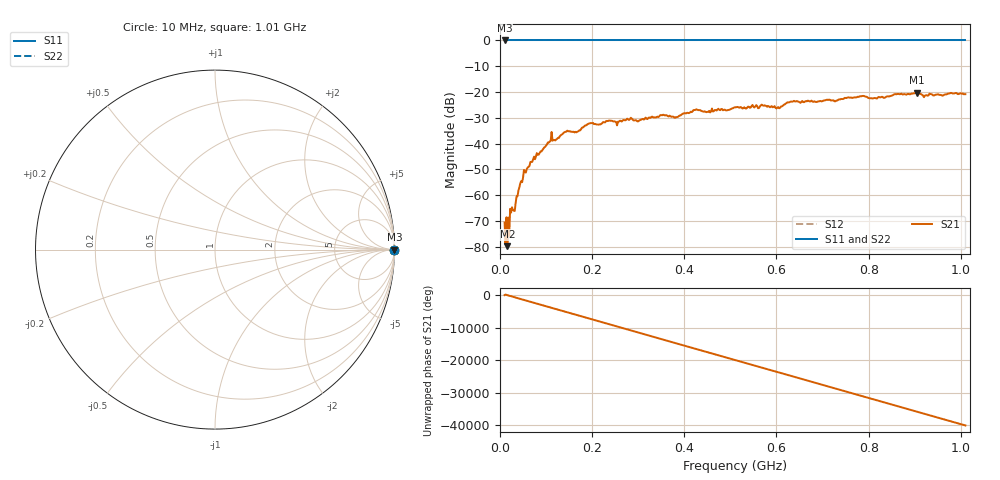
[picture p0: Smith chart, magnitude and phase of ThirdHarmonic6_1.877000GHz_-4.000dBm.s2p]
! 8/16/2025 10:40:41 PM
! C:\ANRITSUVNA\TEMP\TEMP.S2P
! CHANNEL.1
! TR.MEASUREMENT
! RAW.DATA
! RF.CORRECTION.OFF
! AVERAGING.OFF
! IF.BANDWIDTH: 5KHZ
! SWEEPTYPE:  FREQ.SWEEP(Linear)
! Reference Plane Port Info
! PORT:  PORT1  PORT2
! DISTANCE:  0  m  0  m
! TIME:  0  s  0  s
! PHASE.OFFSET:  0  deg.  0  deg.
! LOSS:  0  dB  0  dB
! REF.LOSS:  0  dB  0  dB
! REF.FREQ:  0  Hz  0  Hz
! Power Info
! POWER:  -20  dBm  -20  dBm
! EFF.POWER:  -20  dBm  -20  dBm
! SOURCE.ATTEN:  0  dB  0  dB
! TEST.ATTEN:  0  dB  0  dB
# GHZ S RI R 50.0
! FREQ.GHZ  S11RE  S11IM  S21RE  S21IM  S12RE  S12IM  S22RE  S22IM
!; PortSelection: Port_12
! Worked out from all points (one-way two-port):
!   501 points, 10 MHz to 1.01 GHz, reference 50 ohm
!   highest |S21| = -20.30 dB at 904 MHz (marker M1); lowest = -79.8 dB at 16 MHz (marker M2)
!   lowest |S11| = 0.0 dB at 10 MHz (marker M3)
!   |S11| at or under -10 dB: nowhere
!   |S22| runs from 0.0 to 0.0 dB; largest |S21 - S12| = 1.1
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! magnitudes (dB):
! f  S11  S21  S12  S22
! 10 MHz  0.0  -70.6  0.0  0.0
! 12 MHz  0.0  -79.0  0.0  0.0
! 16 MHz  0.0  -79.8  0.0  0.0
! 20 MHz  0.0  -75.8  0.0  0.0
! 22 MHz  0.0  -65.3  0.0  0.0
! 34 MHz  0.0  -62.9  0.0  0.0
! 48 MHz  0.0  -54.9  0.0  0.0
! 70 MHz  0.0  -47.0  0.0  0.0
! 108 MHz  0.0  -39.2  0.0  0.0
! 178 MHz  0.0  -33.8  0.0  0.0
! 198 MHz  0.0  -32.0  0.0  0.0
! 344 MHz  0.0  -29.7  0.0  0.0
! 382 MHz  0.0  -29.7  0.0  0.0
! 424 MHz  0.0  -26.9  0.0  0.0
! 452 MHz  0.0  -27.7  0.0  0.0
! 510 MHz  0.0  -25.9  0.0  0.0
! 604 MHz  0.0  -25.9  0.0  0.0
! 634 MHz  0.0  -23.7  0.0  0.0
! 678 MHz  0.0  -23.7  0.0  0.0
! 844 MHz  0.0  -21.7  0.0  0.0
! 904 MHz  0.0  -20.3  0.0  0.0
! 1.01 GHz  0.0  -20.8  0.0  0.0
